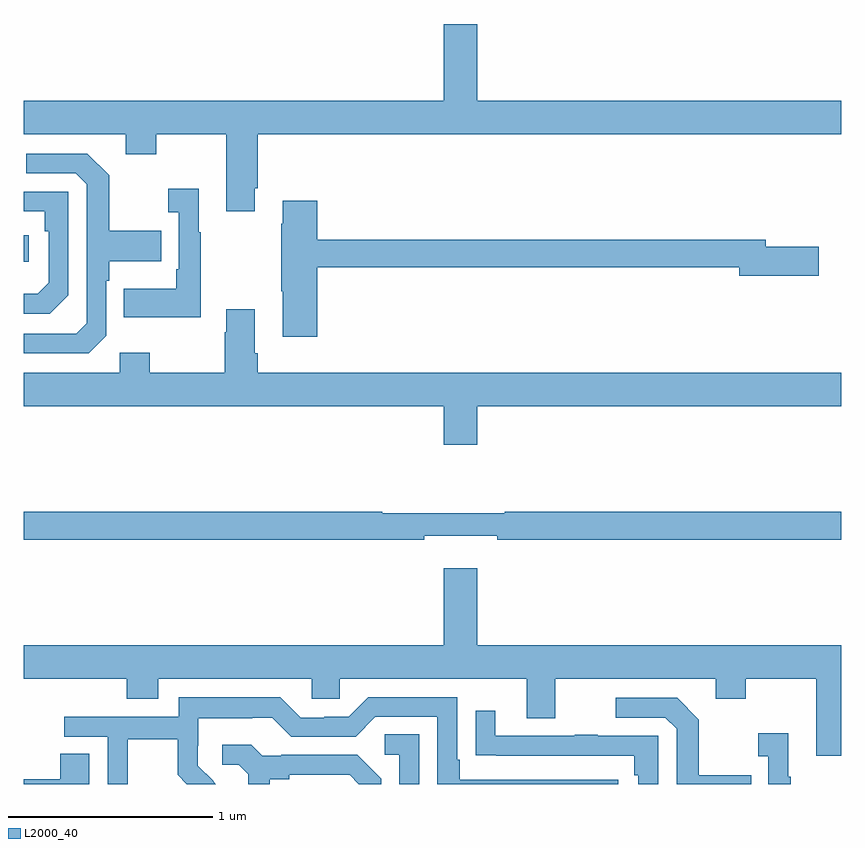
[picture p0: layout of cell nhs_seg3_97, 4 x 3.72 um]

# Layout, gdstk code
import gdstk
lib = gdstk.Library(unit=1e-6, precision=1e-09)
def R(c, l, rs):  # rectangles x0, y0, x1, y1
    for r in rs: c.add(gdstk.rectangle(r[:2], r[2:], *l))
def P(c, l, *ps):  # polygons
    for p in ps: c.add(gdstk.Polygon(p, *l))
L2000_40 = (2000, 40)

nhs_seg3_97 = lib.new_cell('nhs_seg3_97')
R(nhs_seg3_97, L2000_40, [(115,702.956,115.024,703.086)])
P(nhs_seg3_97, L2000_40, [(116.131,703.315),(116.144,703.315),(116.144,703.58),(119,703.58),(119,703.744),(117.22,703.744),(117.22,704.119),(117.056,704.119),(117.056,703.744),(115,703.744),(115,703.58),(115.499,703.58),(115.499,703.481),(115.647,703.481),(115.647,703.58),(115.991,703.58),(115.991,703.203),(116.131,703.203)],
  [(115.404,702.594),(115.404,702.863),(115.417,702.863),(115.417,702.959),(115.673,702.959),(115.673,703.107),(115.417,703.107),(115.417,703.379),(115.311,703.485),(115.011,703.485),(115.011,703.389),(115.254,703.389),(115.308,703.335),(115.308,702.654),(115.257,702.603),(115,702.603),(115,702.507),(115.317,702.507)],
  [(115.867,703.099),(115.855,703.099),(115.855,703.312),(115.707,703.312),(115.707,703.199),(115.758,703.199),(115.758,702.919),(115.746,702.919),(115.746,702.823),(115.489,702.823),(115.489,702.683),(115.867,702.683)],
  [(115.218,702.792),(115.218,703.299),(115,703.299),(115,703.203),(115.102,703.203),(115.102,703.106),(115.122,703.106),(115.122,702.852),(115.069,702.799),(115,702.799),(115,702.702),(115.128,702.702)],
  [(116.435,702.928),(118.502,702.928),(118.502,702.886),(118.891,702.886),(118.891,703.028),(118.63,703.028),(118.63,703.064),(116.435,703.064),(116.435,703.255),(116.267,703.255),(116.267,703.142),(116.26,703.142),(116.26,702.811),(116.267,702.811),(116.267,702.588),(116.435,702.588)],
  [(117.22,702.248),(119,702.248),(119,702.412),(116.144,702.412),(116.144,702.508),(116.131,702.508),(116.131,702.724),(115.991,702.724),(115.991,702.611),(115.984,702.611),(115.984,702.412),(115.617,702.412),(115.617,702.511),(115.47,702.511),(115.47,702.412),(115,702.412),(115,702.248),(117.056,702.248),(117.056,702.06),(117.22,702.06)],
  [(116.96,701.615),(117.316,701.615),(117.316,701.596),(119,701.596),(119,701.732),(117.353,701.732),(117.353,701.725),(116.753,701.725),(116.753,701.732),(115,701.732),(115,701.596),(116.96,701.596)],
  [(119,701.08),(117.22,701.08),(117.22,701.455),(117.056,701.455),(117.056,701.08),(115,701.08),(115,700.916),(115.505,700.916),(115.505,700.817),(115.657,700.817),(115.657,700.916),(116.409,700.916),(116.409,700.818),(116.547,700.818),(116.547,700.916),(117.461,700.916),(117.461,700.722),(117.601,700.722),(117.601,700.916),(118.385,700.916),(118.385,700.817),(118.533,700.817),(118.533,700.916),(118.877,700.916),(118.877,700.539),(119,700.539)],
  [(115.509,700.62),(115.753,700.62),(115.753,700.445),(115.798,700.4),(115.94,700.4),(115.925,700.415),(115.926,700.416),(115.852,700.49),(115.852,700.587),(115.854,700.587),(115.854,700.721),(116.117,700.721),(116.117,700.725),(116.217,700.725),(116.31,700.632),(116.625,700.632),(116.721,700.728),(117.024,700.728),(117.024,700.4),(117.91,700.4),(117.91,700.422),(117.133,700.422),(117.133,700.519),(117.12,700.519),(117.12,700.824),(116.685,700.824),(116.589,700.728),(116.471,700.728),(116.471,700.725),(116.355,700.725),(116.255,700.825),(115.758,700.825),(115.758,700.728),(115.197,700.728),(115.197,700.632),(115.41,700.632),(115.41,700.4),(115.509,700.4)],
  [(118.559,700.443),(118.303,700.443),(118.303,700.715),(118.197,700.821),(117.897,700.821),(117.897,700.725),(118.14,700.725),(118.194,700.671),(118.194,700.4),(118.559,700.4)],
  [(118.104,700.635),(117.809,700.635),(117.809,700.64),(117.697,700.64),(117.697,700.635),(117.307,700.635),(117.307,700.759),(117.211,700.759),(117.211,700.54),(117.313,700.54),(117.313,700.539),(117.988,700.539),(117.988,700.442),(118.008,700.442),(118.008,700.4),(118.104,700.4)],
  [(118.753,700.435),(118.741,700.435),(118.741,700.648),(118.593,700.648),(118.593,700.535),(118.644,700.535),(118.644,700.4),(118.753,700.4)],
  [(116.934,700.643),(116.766,700.643),(116.766,700.542),(116.838,700.542),(116.838,700.4),(116.934,700.4)],
  [(116.203,700.424),(116.299,700.424),(116.299,700.446),(116.594,700.446),(116.64,700.4),(116.748,700.4),(116.748,700.426),(116.632,700.542),(116.26,700.542),(116.26,700.539),(116.166,700.539),(116.114,700.591),(115.971,700.591),(115.971,700.494),(116.052,700.494),(116.099,700.447),(116.099,700.4),(116.203,700.4)],
  [(115.321,700.547),(115.178,700.547),(115.178,700.424),(115,700.424),(115,700.4),(115.321,700.4)])

lib.write_gds('nhs_seg3_97.gds')
